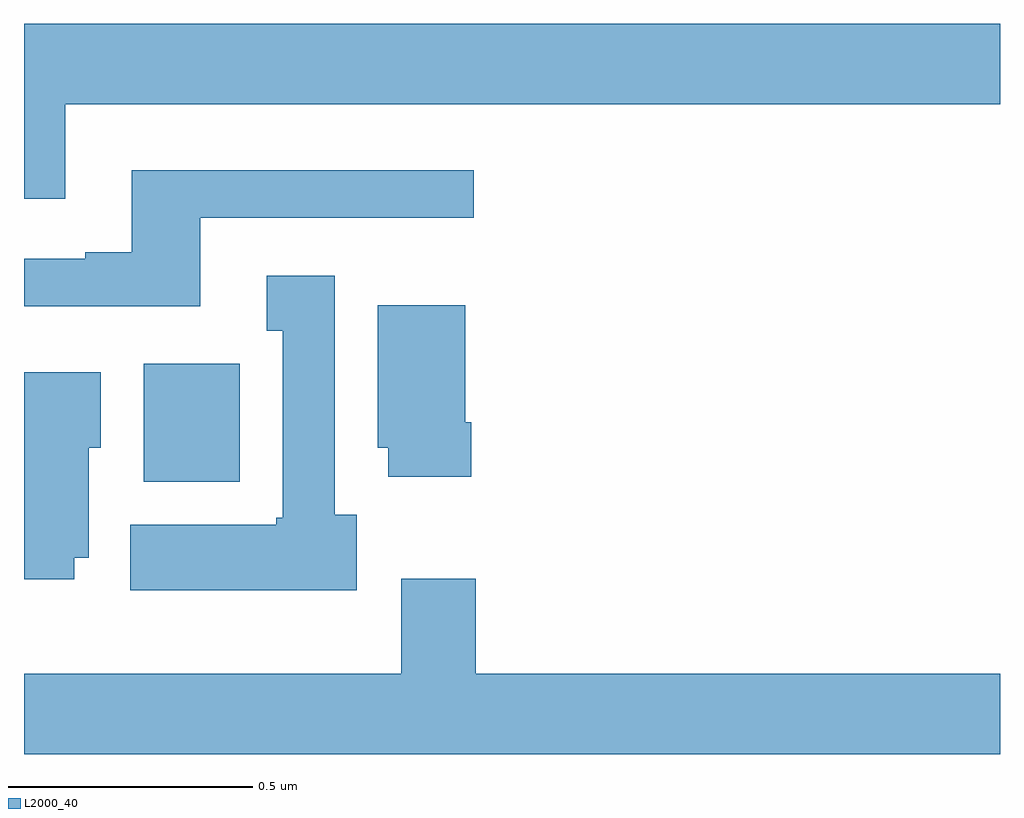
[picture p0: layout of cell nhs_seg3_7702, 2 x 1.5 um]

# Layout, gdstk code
import gdstk
lib = gdstk.Library(unit=1e-6, precision=1e-09)
def R(c, l, rs):  # rectangles x0, y0, x1, y1
    for r in rs: c.add(gdstk.rectangle(r[:2], r[2:], *l))
def P(c, l, *ps):  # polygons
    for p in ps: c.add(gdstk.Polygon(p, *l))
L2000_40 = (2000, 40)

nhs_seg3_7702 = lib.new_cell('nhs_seg3_7702')
R(nhs_seg3_7702, L2000_40, [(207.245,676.166,207.442,676.408)])
P(nhs_seg3_7702, L2000_40, [(207.085,676.94),(209,676.94),(209,677.104),(207,677.104),(207,676.746),(207.085,676.746)],
  [(207.361,676.707),(207.922,676.707),(207.922,676.804),(207.221,676.804),(207.221,676.636),(207.125,676.636),(207.125,676.623),(207,676.623),(207,676.526),(207.361,676.526)],
  [(207.682,676.098),(207.637,676.098),(207.637,676.588),(207.497,676.588),(207.497,676.475),(207.53,676.475),(207.53,676.092),(207.517,676.092),(207.517,676.078),(207.218,676.078),(207.218,675.944),(207.682,675.944)],
  [(207.917,676.288),(207.904,676.288),(207.904,676.528),(207.725,676.528),(207.725,676.236),(207.746,676.236),(207.746,676.176),(207.917,676.176)],
  [(207.103,676.01),(207.133,676.01),(207.133,676.236),(207.157,676.236),(207.157,676.39),(207,676.39),(207,675.966),(207.103,675.966)],
  [(209,675.772),(207.926,675.772),(207.926,675.967),(207.773,675.967),(207.773,675.772),(207,675.772),(207,675.608),(209,675.608)])

lib.write_gds('nhs_seg3_7702.gds')
